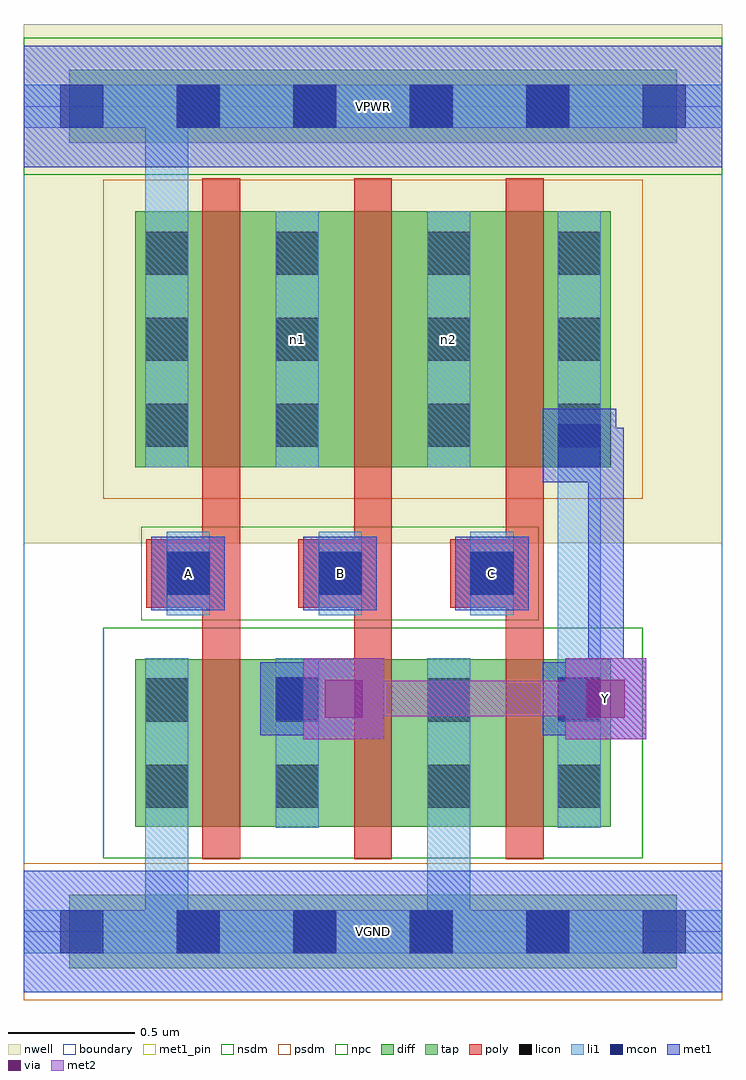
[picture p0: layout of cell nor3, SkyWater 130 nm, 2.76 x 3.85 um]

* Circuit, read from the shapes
.subckt nor3 A B C VGND VPWR Y n1 n2
XM1 Y A VGND VGND sky130_fd_pr__nfet_01v8 w=0.66 l=0.15
XM2 VGND B Y VGND sky130_fd_pr__nfet_01v8 w=0.66 l=0.15
XM3 Y C VGND VGND sky130_fd_pr__nfet_01v8 w=0.66 l=0.15
XM4 n1 A VPWR VPWR sky130_fd_pr__pfet_01v8 w=1.01 l=0.15
XM5 n2 B n1 VPWR sky130_fd_pr__pfet_01v8 w=1.01 l=0.15
XM6 Y C n2 VPWR sky130_fd_pr__pfet_01v8 w=1.01 l=0.15
.ends

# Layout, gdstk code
import gdstk
lib = gdstk.Library(unit=1e-6, precision=1e-09)
def R(c, l, rs):  # rectangles x0, y0, x1, y1
    for r in rs: c.add(gdstk.rectangle(r[:2], r[2:], *l))
def A(c, l, x, y, w, h, nx, ny, dx, dy):  # array of equal rectangles
    R(c, l, [(x+i*dx, y+j*dy, x+i*dx+w, y+j*dy+h) for i in range(nx) for j in range(ny)])
nwell = (64, 20)
diff = (65, 20)
tap = (65, 44)
poly = (66, 20)
licon = (66, 44)
li1 = (67, 20)
mcon = (67, 44)
met1_pin = (68, 16)
met1 = (68, 20)
via = (68, 44)
met2 = (69, 20)
nsdm = (93, 44)
psdm = (94, 20)
npc = (95, 20)
boundary = (235, 4)

nor3 = lib.new_cell('nor3')
R(nor3, nwell, [(0,1.535,2.76,3.585)])
R(nor3, diff, [(0.44,0.415,2.32,1.075), (0.44,1.835,2.32,2.845)])
R(nor3, tap, [(0.18,-0.145,2.58,0.145), (0.18,3.115,2.58,3.405)])
A(nor3, poly, 0.705, 0.285, 0.15, 2.69, 3, 1, 0.6, 0)
A(nor3, poly, 0.485, 1.28, 0.33, 0.27, 3, 1, 0.6, 0)
A(nor3, licon, 0.605, -0.085, 0.17, 0.17, 4, 2, 0.46, 3.26)
A(nor3, licon, 0.565, 1.33, 0.17, 0.17, 3, 1, 0.6, 0)
A(nor3, licon, 0.48, 1.915, 0.17, 0.17, 1, 3, 0, 0.34)
A(nor3, licon, 0.995, 1.915, 0.17, 0.17, 1, 3, 0, 0.34)
A(nor3, licon, 1.595, 1.915, 0.17, 0.17, 1, 3, 0, 0.34)
A(nor3, licon, 2.11, 1.915, 0.17, 0.17, 1, 3, 0, 0.34)
R(nor3, licon, [(0.48,0.49,0.65,0.66), (0.995,0.49,1.165,0.66), (1.595,0.49,1.765,0.66), (2.11,0.49,2.28,0.66), (0.48,0.83,0.65,1), (0.995,0.83,1.165,1), (1.595,0.83,1.765,1), (2.11,0.83,2.28,1)])
A(nor3, li1, 0.565, 1.25, 0.17, 0.33, 3, 1, 0.6, 0)
R(nor3, li1, [(0,-0.085,2.76,0.085), (0.48,-0.085,0.65,1.08), (1.595,-0.085,1.765,1.08), (0.48,0.41,0.65,1.08), (0.995,0.41,1.165,1.08), (1.595,0.41,1.765,1.08), (2.11,0.41,2.28,1.08), (2.11,0.41,2.28,2.845), (0.48,1.835,0.65,2.845), (0.48,1.835,0.65,3.345), (0.995,1.835,1.165,2.845), (1.595,1.835,1.765,2.845), (2.11,1.835,2.28,2.845), (0,3.175,2.76,3.345)])
A(nor3, mcon, 0.145, -0.085, 0.17, 0.17, 6, 2, 0.46, 3.26)
A(nor3, mcon, 0.565, 1.33, 0.17, 0.17, 3, 1, 0.6, 0)
R(nor3, mcon, [(0.995,0.835,1.165,1.005), (2.11,0.835,2.28,1.005), (2.11,1.835,2.28,2.005)])
A(nor3, met1_pin, 0.505, 1.27, 0.29, 0.29, 3, 1, 0.6, 0)
R(nor3, met1_pin, [(0,-0.24,2.76,0.24), (2.14,0.76,2.46,1.08), (0,3.02,2.76,3.5)])
A(nor3, met1, 0.505, 1.27, 0.29, 0.29, 3, 1, 0.6, 0)
R(nor3, met1, [(0,-0.24,2.76,0.24), (1.105,0.76,1.425,1.08), (2.14,0.76,2.46,1.08), (0.935,0.775,1.225,1.065), (2.05,0.775,2.34,1.065), (1.01,0.85,1.335,0.99), (2.125,0.85,2.37,0.99), (2.23,0.85,2.37,1.795), (2.23,1.655,2.37,1.99), (2.05,1.775,2.34,2.065), (2.125,1.85,2.37,1.99), (0,3.02,2.76,3.5)])
R(nor3, via, [(1.19,0.845,1.34,0.995), (2.225,0.845,2.375,0.995)])
R(nor3, met2, [(1.105,0.76,1.425,1.08), (2.14,0.76,2.46,1.08), (1.195,0.85,2.37,0.99)])
R(nor3, nsdm, [(0.315,0.29,2.445,1.2), (0,2.99,2.76,3.53)])
R(nor3, psdm, [(0,-0.27,2.76,0.27), (0.315,1.71,2.445,2.97)])
R(nor3, npc, [(0.465,1.23,2.035,1.6)])
R(nor3, boundary, [(0,0,2.76,3.26)])
nor3.add(gdstk.Label('n1', (1.08,2.34), layer=67, texttype=5))
nor3.add(gdstk.Label('n2', (1.68,2.34), layer=67, texttype=5))
nor3.add(gdstk.Label('A', (0.65,1.415), layer=68, texttype=5))
nor3.add(gdstk.Label('B', (1.25,1.415), layer=68, texttype=5))
nor3.add(gdstk.Label('C', (1.85,1.415), layer=68, texttype=5))
nor3.add(gdstk.Label('Y', (2.3,0.92), layer=68, texttype=5))
nor3.add(gdstk.Label('VPWR', (1.38,3.26), layer=68, texttype=5))
nor3.add(gdstk.Label('VGND', (1.38,0), layer=68, texttype=5))
nor3.add(gdstk.Label('A', (0.65,1.415), layer=68, texttype=16))
nor3.add(gdstk.Label('B', (1.25,1.415), layer=68, texttype=16))
nor3.add(gdstk.Label('C', (1.85,1.415), layer=68, texttype=16))
nor3.add(gdstk.Label('Y', (2.3,0.92), layer=68, texttype=16))
nor3.add(gdstk.Label('VPWR', (1.38,3.26), layer=68, texttype=16))
nor3.add(gdstk.Label('VGND', (1.38,0), layer=68, texttype=16))

lib.write_gds('nor3.gds')
